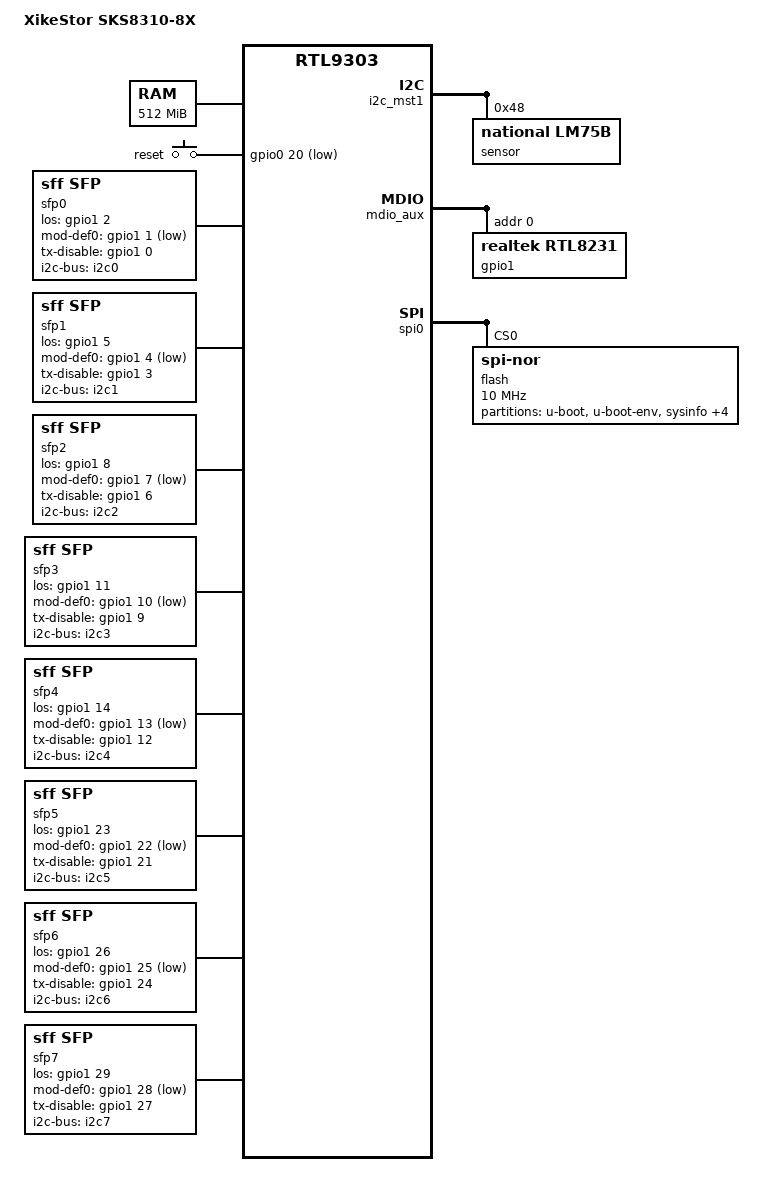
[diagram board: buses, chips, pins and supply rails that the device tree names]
// SPDX-License-Identifier: GPL-2.0-or-later

#include "rtl930x.dtsi"

#include <dt-bindings/input/input.h>
#include <dt-bindings/gpio/gpio.h>
#include <dt-bindings/leds/common.h>

/ {
	compatible = "xikestor,sks8310-8x", "realtek,rtl9303-soc";
	model = "XikeStor SKS8310-8X";

	aliases {
		label-mac-device = &ethernet0;
	};

	memory@0 {
		device_type = "memory";
		reg = <0x00000000 0x10000000>, /* first 256 MiB */
		      <0x20000000 0x10000000>; /* remaining 256 MiB */
	};

	chosen {
		stdout-path = "serial0:115200n8";
	};

	keys {
		compatible = "gpio-keys";

		button-reset {
			label = "reset";
			gpios = <&gpio0 20 GPIO_ACTIVE_LOW>;
			linux,code = <KEY_RESTART>;
		};
	};

	led_set {
		compatible = "realtek,rtl9300-leds";
		active-low;

		/*
		 * LED set 0
		 *
		 * - LED[0](Green): 10G/LINK/ACT
		 * - LED[1](Amber): 10M/100M/1G/2.5G/5G/LINK/ACT
		 */
		led_set0 = <(RTL93XX_LED_SET_10G | RTL93XX_LED_SET_LINK | RTL93XX_LED_SET_ACT)
			    (RTL93XX_LED_SET_5G | RTL93XX_LED_SET_2P5G | RTL93XX_LED_SET_1G |
			     RTL93XX_LED_SET_100M | RTL93XX_LED_SET_10M | RTL93XX_LED_SET_LINK |
			     RTL93XX_LED_SET_ACT)>;
	};

	sfp0: sfp-p1 {
		compatible = "sff,sfp";
		i2c-bus = <&i2c0>;
		los-gpio = <&gpio1 2 GPIO_ACTIVE_HIGH>;
		mod-def0-gpio = <&gpio1 1 GPIO_ACTIVE_LOW>;
		tx-disable-gpio = <&gpio1 0 GPIO_ACTIVE_HIGH>;
		maximum-power-milliwatt = <2900>;
		#thermal-sensor-cells = <0>;
	};

	sfp1: sfp-p2 {
		compatible = "sff,sfp";
		i2c-bus = <&i2c1>;
		los-gpio = <&gpio1 5 GPIO_ACTIVE_HIGH>;
		mod-def0-gpio = <&gpio1 4 GPIO_ACTIVE_LOW>;
		tx-disable-gpio = <&gpio1 3 GPIO_ACTIVE_HIGH>;
		maximum-power-milliwatt = <1500>;
		#thermal-sensor-cells = <0>;
	};

	sfp2: sfp-p3 {
		compatible = "sff,sfp";
		i2c-bus = <&i2c2>;
		los-gpio = <&gpio1 8 GPIO_ACTIVE_HIGH>;
		mod-def0-gpio = <&gpio1 7 GPIO_ACTIVE_LOW>;
		tx-disable-gpio = <&gpio1 6 GPIO_ACTIVE_HIGH>;
		maximum-power-milliwatt = <1500>;
		#thermal-sensor-cells = <0>;
	};

	sfp3: sfp-p4 {
		compatible = "sff,sfp";
		i2c-bus = <&i2c3>;
		los-gpio = <&gpio1 11 GPIO_ACTIVE_HIGH>;
		mod-def0-gpio = <&gpio1 10 GPIO_ACTIVE_LOW>;
		tx-disable-gpio = <&gpio1 9 GPIO_ACTIVE_HIGH>;
		maximum-power-milliwatt = <2000>;
		#thermal-sensor-cells = <0>;
	};

	sfp4: sfp-p5 {
		compatible = "sff,sfp";
		i2c-bus = <&i2c4>;
		los-gpio = <&gpio1 14 GPIO_ACTIVE_HIGH>;
		mod-def0-gpio = <&gpio1 13 GPIO_ACTIVE_LOW>;
		tx-disable-gpio = <&gpio1 12 GPIO_ACTIVE_HIGH>;
		maximum-power-milliwatt = <2000>;
		#thermal-sensor-cells = <0>;
	};

	sfp5: sfp-p6 {
		compatible = "sff,sfp";
		i2c-bus = <&i2c5>;
		los-gpio = <&gpio1 23 GPIO_ACTIVE_HIGH>;
		mod-def0-gpio = <&gpio1 22 GPIO_ACTIVE_LOW>;
		tx-disable-gpio = <&gpio1 21 GPIO_ACTIVE_HIGH>;
		maximum-power-milliwatt = <1500>;
		#thermal-sensor-cells = <0>;
	};

	sfp6: sfp-p7 {
		compatible = "sff,sfp";
		i2c-bus = <&i2c6>;
		los-gpio = <&gpio1 26 GPIO_ACTIVE_HIGH>;
		mod-def0-gpio = <&gpio1 25 GPIO_ACTIVE_LOW>;
		tx-disable-gpio = <&gpio1 24 GPIO_ACTIVE_HIGH>;
		maximum-power-milliwatt = <1500>;
		#thermal-sensor-cells = <0>;
	};

	sfp7: sfp-p8 {
		compatible = "sff,sfp";
		i2c-bus = <&i2c7>;
		los-gpio = <&gpio1 29 GPIO_ACTIVE_HIGH>;
		mod-def0-gpio = <&gpio1 28 GPIO_ACTIVE_LOW>;
		tx-disable-gpio = <&gpio1 27 GPIO_ACTIVE_HIGH>;
		maximum-power-milliwatt = <2900>;
		#thermal-sensor-cells = <0>;
	};

};

&i2c_mst1 {
	status = "okay";

	i2c0: i2c@0 {
		reg = <0>;
		#address-cells = <1>;
		#size-cells = <0>;

		/* NXP LM75BD */
		sensor@48 {
			compatible = "national,lm75b";
			reg = <0x48>;
		};
	};
	i2c1: i2c@1 {
		reg = <1>;
	};
	i2c2: i2c@2 {
		reg = <2>;
	};
	i2c3: i2c@3 {
		reg = <3>;
	};
	i2c4: i2c@4 {
		reg = <4>;
	};
	i2c5: i2c@5 {
		reg = <5>;
	};
	i2c6: i2c@6 {
		reg = <6>;
	};
	i2c7: i2c@7 {
		reg = <7>;
	};
};

&mdio_aux {
	status = "okay";

	gpio1: gpio@0 {
		compatible = "realtek,rtl8231";
		reg = <0>;

		gpio-controller;
		#gpio-cells = <2>;
		gpio-ranges = <&gpio1 0 0 37>;

		led-controller {
			compatible = "realtek,rtl8231-leds";
			status = "disabled";
		};
	};
};

&spi0 {
	status = "okay";

	flash@0 {
		compatible = "jedec,spi-nor";
		reg = <0>;
		spi-max-frequency = <10000000>;

		partitions {
			compatible = "fixed-partitions";
			#address-cells = <1>;
			#size-cells = <1>;

			partition@0 {
				label = "u-boot";
				reg = <0x0 0x1c0000>;
				read-only;
			};

			partition@1c0000 {
				label = "u-boot-env";
				reg = <0x1c0000 0x10000>;
			};

			partition@1d0000 {
				label = "sysinfo";
				reg = <0x1d0000 0x10000>;
				read-only;
			};

			partition@1e0000 {
				label = "factory";
				reg = <0x1e0000 0x10000>;
				read-only;

				nvmem-layout {
					compatible = "fixed-layout";
					#address-cells = <1>;
					#size-cells = <1>;

					factory_macaddr: macaddr@80 {
						compatible = "mac-base";
						reg = <0x80 0x6>;
						#nvmem-cell-cells = <1>;
					};
				};
			};

			partition@1f0000 {
				label = "sysdata";
				reg = <0x1f0000 0x10000>;
			};

			partition@200000 {
				label = "jffs2_filesystem";
				reg = <0x200000 0xa00000>;
			};

			partition@c00000 {
				compatible = "openwrt,uimage", "denx,uimage";
				label = "firmware";
				reg = <0xc00000 0x1400000>;
				openwrt,ih-magic = <0x93000000>;
				openwrt,offset = <0x10>;
			};
		};
	};
};

&ethernet0 {
	nvmem-cells = <&factory_macaddr 0>;
	nvmem-cell-names = "mac-address";
};

&switch0 {
	ethernet-ports {
		#address-cells = <1>;
		#size-cells = <0>;

		SWITCH_PORT_SFP(0, 1, 2, 0, 0)
		SWITCH_PORT_SFP(8, 2, 3, 0, 1)
		SWITCH_PORT_SFP(16, 3, 4, 0, 2)
		SWITCH_PORT_SFP(20, 4, 5, 0, 3)
		SWITCH_PORT_SFP(24, 5, 6, 0, 4)
		SWITCH_PORT_SFP(25, 6, 7, 0, 5)
		SWITCH_PORT_SFP(26, 7, 8, 0, 6)
		SWITCH_PORT_SFP(27, 8, 9, 0, 7)

		port@1c {
			ethernet = <&ethernet0>;
			reg = <28>;
			phy-mode = "internal";

			fixed-link {
				speed = <1000>;
				full-duplex;
			};
		};
	};
};

&thermal_zones {
	sfp-thermal {
		polling-delay-passive = <10000>;
		polling-delay = <10000>;
		thermal-sensors = <&sfp0>, <&sfp1>, <&sfp2>, <&sfp3>, <&sfp4>, <&sfp5>, <&sfp6>, <&sfp7>;
		trips {
			sfp-crit {
				temperature = <110000>;
				hysteresis = <1000>;
				type = "critical";
			};
		};
	};
};
